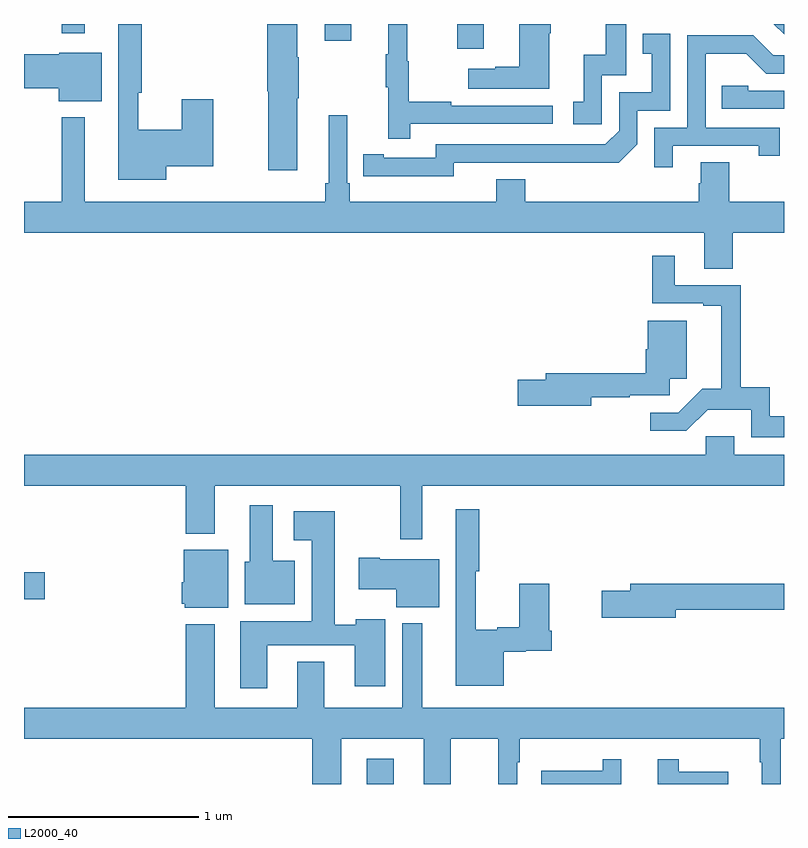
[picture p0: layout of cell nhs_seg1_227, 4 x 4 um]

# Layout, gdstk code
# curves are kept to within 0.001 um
import gdstk
lib = gdstk.Library(unit=1e-6, precision=1e-09)
def R(c, l, rs):  # rectangles x0, y0, x1, y1
    for r in rs: c.add(gdstk.rectangle(r[:2], r[2:], *l))
def P(c, l, *ps):  # polygons
    for p in ps: c.add(gdstk.Polygon(p, *l))
L2000_40 = (2000, 40)

nhs_seg1_227 = lib.new_cell('nhs_seg1_227')
R(nhs_seg1_227, L2000_40, [(124.805,514.199,124.945,514.333), (123,515.171,123.109,515.313), (125.279,518.07,125.419,518.199), (124.583,518.112,124.723,518.199), (123.198,518.151,123.319,518.199)])
P(nhs_seg1_227, L2000_40, [(125.033,517.674),(125.782,517.674),(125.782,517.77),(125.249,517.77),(125.249,517.79),(125.026,517.79),(125.026,518.004),(125.018,518.004),(125.018,518.199),(124.916,518.199),(124.916,518.041),(124.905,518.041),(124.905,517.867),(124.916,517.867),(124.916,517.596),(125.033,517.596)],
  [(123.748,517.451),(123.996,517.451),(123.996,517.804),(123.83,517.804),(123.83,517.642),(123.601,517.642),(123.601,517.838),(123.619,517.838),(123.619,518.199),(123.497,518.199),(123.497,517.379),(123.748,517.379)],
  [(124.438,517.807),(124.446,517.807),(124.446,518.024),(124.438,518.024),(124.438,518.199),(124.28,518.199),(124.28,517.845),(124.285,517.845),(124.285,517.428),(124.438,517.428)],
  [(125.764,518.15),(125.772,518.15),(125.772,518.199),(125.606,518.199),(125.606,517.973),(125.48,517.973),(125.48,517.963),(125.337,517.963),(125.337,517.859),(125.764,517.859)],
  [(127,518.199),(126.945,518.199),(127,518.144)],
  [(126.042,517.929),(126.171,517.929),(126.171,518.199),(126.063,518.199),(126.063,518.038),(125.945,518.038),(125.945,517.791),(125.892,517.791),(125.892,517.671),(126.042,517.671)],
  [(125.262,517.47),(126.13,517.469),(126.228,517.566),(126.228,517.743),(126.402,517.743),(126.402,518.149),(126.256,518.149),(126.256,518.043),(126.305,518.043),(126.305,517.839),(126.132,517.839),(126.132,517.638),(126.06,517.566),(125.166,517.566),(125.166,517.494),(124.894,517.494),(124.894,517.514),(124.786,517.514),(124.786,517.398),(125.262,517.397)],
  [(126.415,517.557),(126.866,517.557),(126.866,517.506),(126.977,517.506),(126.977,517.653),(126.588,517.653),(126.588,518.042),(126.802,518.042),(126.906,517.938),(127,517.938),(127,518.034),(126.943,518.034),(126.838,518.139),(126.492,518.139),(126.492,517.653),(126.318,517.653),(126.318,517.446),(126.415,517.446)],
  [(123.409,518.047),(123.186,518.047),(123.186,518.04),(123,518.04),(123,517.862),(123.182,517.862),(123.182,517.793),(123.409,517.793)],
  [(127,517.848),(126.813,517.848),(126.813,517.875),(126.673,517.875),(126.673,517.752),(127,517.752)],
  [(126.729,517.1),(127,517.1),(127,517.264),(126.711,517.264),(126.711,517.472),(126.563,517.472),(126.563,517.362),(126.551,517.362),(126.551,517.264),(125.639,517.264),(125.639,517.381),(125.486,517.381),(125.486,517.264),(124.715,517.264),(124.715,517.36),(124.701,517.36),(124.701,517.72),(124.604,517.72),(124.604,517.36),(124.585,517.36),(124.585,517.264),(123.319,517.264),(123.319,517.708),(123.198,517.708),(123.198,517.264),(123,517.264),(123,517.1),(126.581,517.1),(126.581,516.91),(126.729,516.91)],
  [(127,516.134),(126.924,516.134),(126.924,516.287),(126.773,516.287),(126.773,516.825),(126.424,516.825),(126.424,516.979),(126.307,516.979),(126.307,516.729),(126.575,516.729),(126.575,516.717),(126.671,516.717),(126.671,516.28),(126.571,516.28),(126.444,516.153),(126.297,516.153),(126.297,516.057),(126.486,516.057),(126.599,516.17),(126.828,516.17),(126.828,516.024),(127,516.024)],
  [(125.986,516.234),(126.188,516.234),(126.188,516.246),(126.399,516.246),(126.399,516.332),(126.487,516.332),(126.487,516.637),(126.284,516.637),(126.284,516.486),(126.272,516.486),(126.272,516.362),(125.747,516.362),(125.747,516.326),(125.598,516.326),(125.598,516.191),(125.986,516.191)],
  [(125.095,515.768),(127,515.768),(127,515.932),(126.739,515.932),(126.739,516.03),(126.588,516.03),(126.588,515.932),(123,515.932),(123,515.768),(123.851,515.768),(123.851,515.516),(124.003,515.516),(124.003,515.768),(124.981,515.768),(124.981,515.487),(125.095,515.487)],
  [(124.426,515.374),(124.309,515.374),(124.309,515.665),(124.187,515.665),(124.187,515.37),(124.163,515.37),(124.163,515.144),(124.426,515.144)],
  [(125.524,514.894),(125.64,514.894),(125.64,514.901),(125.777,514.901),(125.777,515.005),(125.764,515.005),(125.764,515.254),(125.606,515.254),(125.606,515.024),(125.492,515.024),(125.492,515.011),(125.377,515.011),(125.377,515.319),(125.395,515.319),(125.395,515.644),(125.273,515.644),(125.273,514.715),(125.524,514.715)],
  [(124.279,514.928),(124.742,514.928),(124.742,514.713),(124.9,514.713),(124.9,515.065),(124.746,515.065),(124.746,515.038),(124.636,515.038),(124.636,515.635),(124.419,515.635),(124.419,515.483),(124.514,515.483),(124.514,515.056),(124.139,515.056),(124.139,514.704),(124.279,514.704)],
  [(124.075,515.431),(123.842,515.431),(123.842,515.262),(123.83,515.262),(123.83,515.148),(123.846,515.148),(123.846,515.126),(124.075,515.126)],
  [(125.185,515.383),(124.873,515.383),(124.873,515.391),(124.761,515.391),(124.761,515.225),(124.958,515.225),(124.958,515.129),(125.185,515.129)],
  [(126.43,515.116),(127,515.116),(127,515.252),(126.191,515.252),(126.191,515.216),(126.042,515.216),(126.042,515.074),(126.43,515.074)],
  [(124.669,514.436),(125.105,514.436),(125.105,514.199),(125.245,514.199),(125.245,514.436),(125.497,514.436),(125.497,514.199),(125.595,514.199),(125.595,514.313),(125.608,514.313),(125.608,514.436),(126.873,514.436),(126.873,514.313),(126.884,514.313),(126.884,514.199),(126.983,514.199),(126.983,514.436),(127,514.436),(127,514.6),(125.095,514.6),(125.095,515.044),(124.991,515.044),(124.991,514.6),(124.579,514.6),(124.579,514.843),(124.439,514.843),(124.439,514.6),(124.003,514.6),(124.003,515.041),(123.851,515.041),(123.851,514.6),(123,514.6),(123,514.436),(124.517,514.436),(124.517,514.199),(124.669,514.199)],
  [(126.144,514.33),(126.047,514.33),(126.047,514.27),(125.723,514.27),(125.723,514.199),(126.144,514.199)],
  [(126.706,514.264),(126.445,514.264),(126.445,514.33),(126.336,514.33),(126.336,514.199),(126.706,514.199)])

lib.write_gds('nhs_seg1_227.gds')
